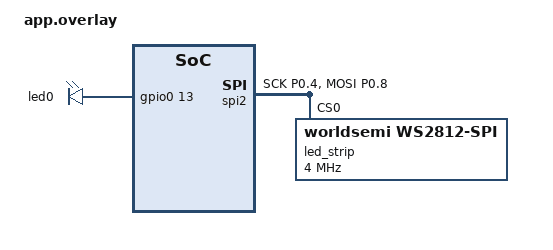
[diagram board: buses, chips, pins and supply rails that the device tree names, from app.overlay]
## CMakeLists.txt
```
cmake_minimum_required(VERSION 3.20)

# for global installs
find_package(Zephyr REQUIRED HINTS $ENV{ZEPHYR_BASE})

# populated the $PROJECT_NAME var and this is what the output files are named 
project(firepod)

# app is a predesignated target that zephyr uses
target_sources(app PRIVATE 
    src/main.c
    src/led_strip.c
    src/ble/ble.c
    src/ble/storage.c
)

target_include_directories(app PRIVATE include)
target_include_directories(app PRIVATE src)

#[[
Example from my capstone project:
cmake_minimum_required(VERSION 3.22)

find_package(Zephyr REQUIRED HINTS $ENV{ZEPHYR_BASE})
project(firepod)

# Include dirs so the Bosch API header is visible
target_include_directories(app PRIVATE
    ${CMAKE_CURRENT_SOURCE_DIR}/src
    ${CMAKE_CURRENT_SOURCE_DIR}/src/bosch/BME68x_SensorAPI
)

# All source files, including the Bosch driver and your stubs
target_sources(app PRIVATE
    src/main.c
    src/sensor_thread.c
    src/lora_thread.c
    src/base_station_thread.c
    src/bme688_stubs.c
    src/bosch/BME68x_SensorAPI/bme68x.c
)
]]
```

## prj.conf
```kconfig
# add desired CONFIGs here
CONFIG_GPIO=y
CONFIG_SPI=y

#logging
CONFIG_PRINTK=y
CONFIG_CONSOLE=y
CONFIG_USE_SEGGER_RTT=y
CONFIG_RTT_CONSOLE=y
CONFIG_UART_CONSOLE=n
CONFIG_CLOCK_CONTROL_NRF_K32SRC_RC=y

#BLE
CONFIG_BT=y
CONFIG_BT_BROADCASTER=y
CONFIG_BT_PERIPHERAL=y
CONFIG_BT_DEVICE_NAME="Cicada Wearable"

#Internal Flash
CONFIG_FLASH=y
CONFIG_MPU_ALLOW_FLASH_WRITE=y
CONFIG_FLASH_MAP=y
CONFIG_FCB=y
CONFIG_FLASH_PAGE_LAYOUT=y

# LED Strip support
CONFIG_LED_STRIP=y
CONFIG_WS2812_STRIP_SPI=y
CONFIG_SPI=y
CONFIG_LED_STRIP_LOG_LEVEL_DBG=y
CONFIG_SOC_NRF52832_ALLOW_SPIM_DESPITE_PAN_58=y 
```

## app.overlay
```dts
/*
* Hardware Overlay
* WS2812B LED strip:
*   MOSI: GPIO5  (SPI2)
*nRF52832:
*   UART
*/
#include <zephyr/dt-bindings/led/led.h>

/ {
    leds {
        compatiable = "gpio-leds";
        led0: led_0 {
            gpios = <&gpio0 13 GPIO_ACTIVE_HIGH>;
        };
    };
    aliases{
        led0 = &led0;
    };
};

&pinctrl {
     /* SPI2 — WS2812B LED strip data line */
    spim2_default: spim2_default {
        group1 {
            psels = <NRF_PSEL(SPIM_SCK, 0, 4)>,
                    <NRF_PSEL(SPIM_MOSI, 0 ,8)>;
        };
    };

    /*SPI1 - Internal Flash */
};

/*------------------ For Internal Flash  --------------------- */
&flash0 {
    partitions {
        compatible = "fixed-partitions";
        #address-cells = <1>;
        #size-cells = <1>;

        partition@0 {
            label = "storage";
            reg = <0x00050000 0x00028000>; /* 256kB */
            read-only;
        };
    };
};

/*------------- For LED Strip -------------------- */
&spi2 {
    compatible = "nordic,nrf-spim";
    status = "okay";
    pinctrl-0 = <&spim2_default>;
    /delete-property/ pinctrl-1;
    pinctrl-names = "default";

    led_strip: ws2812@0 {
        compatible = "worldsemi,ws2812-spi";
        reg = <0>;
        spi-max-frequency = <4000000>;
        chain-length = <4>;
        color-mapping = <2  /*GREEN*/
                        1   /*RED */
                        3>;   /*BLUE */
        spi-one-frame = <0x70>;
        spi-zero-frame = <0x40>;
        bits-per-symbol = <8>;
        reset-delay = <280>;
    };
};
```

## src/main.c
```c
// #include <stdio.h>
#include <zephyr/kernel.h>
// zephyr/device.h is included eventually through kernel.h
#include <zephyr/drivers/gpio.h>
#include "led_strip.h"
#include "ble/ble.h"
#include "ble/storage.h"

// This is accessing the DeviceTree node through its label (can see the entire devicetree in generated zephyr.dts file in the build directory)
#define LED2 DT_ALIAS(led0)

// 'gpios' refers to the property name within the led0 node, which is itself inside the leds parent node in the devicetree
// you can see this^^ in code if you search for the 'zephyr/boards/nordic/nrf54l15dk/nrf54l15dk_common.dtsi' file
static const struct gpio_dt_spec led = GPIO_DT_SPEC_GET(LED2, gpios);

int main(void)
{
    printk("booting  \n");

    //intialize flash
    int ret = storage_init();
    if (ret < 0){
        printk("Flash init failed: %d", ret);
    }

    printk("flash init successful \n");

    storage_read();
    storage_clear();

    //write fake data into flash
    printk("start logging \n");
    for (int i = 0; i < 10; i++){
        storage_log_data();
        k_sleep(K_SECONDS(1));
    }
    printk("wrote to flash \n");

    //intialize ble
    ret = ble_init();
    if (ret < 0){
        printk("BLE init failed: %d", ret);
    }

    printk("ble init successful \n");
    k_msleep(3000);

    //transfer data and then clear flash
    while (1) {
        uint8_t cmd;
        ble_wait_for_command(&cmd, K_FOREVER);
        printk("waiting for command \n");

        if (cmd == 0x01) {
            printk("send data \n");
            send_storage_data();
            printk("sent data \n");
        } else if (cmd == 0x02) {
            printk("clear \n");
            storage_clear();
        }
    }

    storage_read();
    printk("cleared flash \n");

    return 0;
}
```

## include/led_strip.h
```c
#ifndef LED_STRIP_H_
#define LED_STRIP_H_

#include <zephyr/drivers/led_strip.h>

/**
 * @brief Initialize the LED strip
 *
 * @return 0 on success, negative errno on failure
 */
int led_strip_init(void);

/**
 * @brief Set all LEDs to a single color
 *
 * @param r Red component (0-255)
 * @param g Green component (0-255)
 * @param b Blue component (0-255)
 * @return 0 on success, negative errno on failure
 */
int led_strip_set_all(uint8_t r, uint8_t g, uint8_t b);

/**
 * @brief Set individual LED colors
 *
 * @param pixels Array of RGB values for each LED
 * @param num_pixels Number of pixels to set
 * @return 0 on success, negative errno on failure
 */
int led_strip_set_pixels(struct led_rgb *pixels, size_t num_pixels);

/**
 * @brief Clear all LEDs (turn them off)
 *
 * @return 0 on success, negative errno on failure
 */
int led_strip_clear(void);

/**
 * @brief Get the number of LEDs in the strip
 *
 * @return Number of LEDs
 */
size_t led_strip_get_length(void);

/**
 * @brief Create a rainbow effect across the LED strip
 *
 * @param brightness Brightness multiplier (0-255)
 * @return 0 on success, negative errno on failure
 */
int led_strip_rainbow(uint8_t brightness);

/**
 * @brief Create a chasing light effect
 *
 * @param r Red component (0-255)
 * @param g Green component (0-255)
 * @param b Blue component (0-255)
 * @param delay_ms Delay between updates in milliseconds
 * @return 0 on success, negative errno on failure
 */
int led_strip_chase(uint8_t r, uint8_t g, uint8_t b, uint32_t delay_ms);

/**
 * @brief Different levels of LED colors and count based after certain time
 *
 * @return 0 on success, negative errno on failure
 */
int led_strip_main(void);

int led_strip_charge(void);

/**
 * @brief Test LED strip with a simple pattern
 *
 * @return 0 on success, negative errno on failure
 */
int led_strip_test(void);

#endif /* LED_STRIP_H_ */
```

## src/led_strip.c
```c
#include <zephyr/kernel.h>
#include <zephyr/device.h>
#include <zephyr/drivers/led_strip.h>
#include <zephyr/logging/log.h>
#include "led_strip.h"

LOG_MODULE_REGISTER(led_strip, LOG_LEVEL_INF);

#define LED_STRIP_NODE DT_NODELABEL(led_strip)
#define NUM_LEDS 4
#define LEVEL_DELAY_MS 5000


static const struct device *led_strip_dev;

int led_strip_init(void)
{
    led_strip_dev = DEVICE_DT_GET(LED_STRIP_NODE);

    if (!device_is_ready(led_strip_dev)) {
        LOG_ERR("LED strip device not ready");
        return -ENODEV;
    }

    LOG_INF("LED strip device found: %s", led_strip_dev->name);
    LOG_INF("LED strip initialized with %zu LEDs", led_strip_get_length());

    // Test pattern to verify it's working
    LOG_INF("Testing LED strip...");
    led_strip_set_all(100, 100, 100); // White
    k_sleep(K_MSEC(500));
    led_strip_clear();
    LOG_INF("LED strip test complete");

    return 0;
}

int led_strip_set_all(uint8_t r, uint8_t g, uint8_t b)
{
    if (!led_strip_dev) {
        LOG_ERR("LED strip device not initialized");
        return -ENODEV;
    }

    size_t num_pixels = led_strip_get_length();
    struct led_rgb pixels[64]; // Fixed size array for safety

    if (num_pixels > 64) {
        LOG_WRN("LED strip has %zu LEDs, limiting to 64", num_pixels);
        num_pixels = 64; // Limit to prevent overflow
    }

    LOG_INF("Setting all %zu LEDs to RGB(%d, %d, %d)", num_pixels, r, g, b);

    for (size_t i = 0; i < num_pixels; i++) {
        pixels[i].r = r;
        pixels[i].g = g;
        pixels[i].b = b;
    }

    int ret = led_strip_update_rgb(led_strip_dev, pixels, num_pixels);
    if (ret < 0) {
        LOG_ERR("Failed to update LED strip: %d", ret);
    } else {
        LOG_INF("LED strip updated successfully");
    }

    return ret;
}

int led_strip_set_pixels(struct led_rgb *pixels, size_t num_pixels)
{
    if (!led_strip_dev) {
        return -ENODEV;
    }

    if (num_pixels > led_strip_get_length()) {
        return -EINVAL;
    }

    return led_strip_update_rgb(led_strip_dev, pixels, num_pixels);
}

int led_strip_clear(void)
{
    return led_strip_set_all(0, 0, 0);
}

size_t led_strip_get_length(void)
{
    if (!led_strip_dev) {
        return 0;
    }

    return led_strip_length(led_strip_dev);
}

int led_strip_rainbow(uint8_t brightness)
{
    if (!led_strip_dev) {
        return -ENODEV;
    }

    size_t num_pixels = led_strip_get_length();
    struct led_rgb pixels[64]; // Fixed size array for safety

    if (num_pixels > 64) {
        num_pixels = 64; // Limit to prevent overflow
    }

    // Predefined rainbow colors for simplicity
    const struct led_rgb rainbow_colors[] = {
        {255, 0, 0},     // Red
        {255, 127, 0},   // Orange
        {255, 255, 0},   // Yellow
        {0, 255, 0},     // Green
        {0, 0, 255},     // Blue
        {75, 0, 130},    // Indigo
        {148, 0, 211}    // Violet
    };
    const size_t num_colors = sizeof(rainbow_colors) / sizeof(rainbow_colors[0]);

    for (size_t i = 0; i < num_pixels; i++) {
        // Map pixel index to rainbow color
        size_t color_index = (i * num_colors) / num_pixels;
        if (color_index >= num_colors) {
            color_index = num_colors - 1;
        }

        pixels[i].r = (uint8_t)((rainbow_colors[color_index].r * brightness) / 255);
        pixels[i].g = (uint8_t)((rainbow_colors[color_index].g * brightness) / 255);
        pixels[i].b = (uint8_t)((rainbow_colors[color_index].b * brightness) / 255);
    }

    return led_strip_update_rgb(led_strip_dev, pixels, num_pixels);
}

int led_strip_chase(uint8_t r, uint8_t g, uint8_t b, uint32_t delay_ms)
{
    if (!led_strip_dev) {
        return -ENODEV;
    }

    size_t num_pixels = led_strip_get_length();
    struct led_rgb pixels[64]; // Fixed size array for safety

    if (num_pixels > 64) {
        num_pixels = 64; // Limit to prevent overflow
    }

    // Initialize all pixels to off
    memset(pixels, 0, sizeof(pixels));

    for (size_t i = 0; i < num_pixels; i++) {
        // Turn off the previous LED
        if (i > 0) {
            pixels[i - 1].r = 0;
            pixels[i - 1].g = 0;
            pixels[i - 1].b = 0;
        }

        // Turn on the current LED
        pixels[i].r = r;
        pixels[i].g = g;
        pixels[i].b = b;

        int ret = led_strip_update_rgb(led_strip_dev, pixels, num_pixels);
        if (ret < 0) {
            return ret;
        }

        k_sleep(K_MSEC(delay_ms));
    }

    // Turn off the last LED
    pixels[num_pixels - 1].r = 0;
    pixels[num_pixels - 1].g = 0;
    pixels[num_pixels - 1].b = 0;

    return led_strip_update_rgb(led_strip_dev, pixels, num_pixels);
}

int led_strip_power (void) {
    struct level{
        size_t count;
        uint8_t r, g, b;
    };

    static const struct level levels[] = {
        {1, 255, 0, 0 }, //1 red
        {2, 255, 180, 0 }, //2 yellow
        {3, 0, 255, 0 }, //3 green
        {4, 0, 255, 0 } //4 green
    };

    struct led_rgb pixels[NUM_LEDS];

    for (size_t i = 0; i < ARRAY_SIZE(levels); i++) {
        memset(pixels, 0, sizeof(pixels)); //function turns pixels off

        for (size_t led = 0; led < levels[i].count; led++){
            pixels[led].r = levels[i].r;
            pixels[led].g = levels[i].g;
            pixels[led].b = levels[i].b;
        }

        int ret = led_strip_set_pixels(pixels, NUM_LEDS);
        if(ret < 0){
            return ret;
        }
        k_sleep(K_MSEC(LEVEL_DELAY_MS));
    }
    return 0;
}

int led_strip_clean (void) {
    #define NUM_LEDS 4
    #define LEVEL_DELAY_MS 3000
    #define BLINK_MS    300

    struct level{
        size_t count;
        uint8_t r, g, b;
    };

    static const struct level levels[] = {
        {1, 0, 0, 255 }, //1 red
        {2, 0, 0, 255 }, //2 blue
        {3, 0, 0, 255 }, //3 green
        {4, 0, 0, 255 }, //4 blue
    };

    struct led_rgb pixels[NUM_LEDS];
    int ret;

    for (size_t i = 0; i < ARRAY_SIZE(levels); i++){
        memset(pixels, 0, sizeof(pixels)); //function turns pixels off

        //on mode
        for (uint32_t t = 0; t < LEVEL_DELAY_MS; t += 2 * BLINK_MS){
            for (size_t led = 0; led < levels[i].count; led++){
                pixels[led].r = levels[i].r;
                pixels[led].g = levels[i].g;
                pixels[led].b = levels[i].b;
            }
            ret = led_strip_set_pixels(pixels, NUM_LEDS);
            if (ret < 0) {
                return ret;
            }
            k_sleep(K_MSEC(BLINK_MS));

            //off mode
            memset(pixels, 0, sizeof(pixels));
            ret = led_strip_set_pixels(pixels, NUM_LEDS);
            if (ret < 0) {
                return ret;
            }
            k_sleep(K_MSEC(BLINK_MS));
        }
    }
}

int led_strip_test(void)
{
    LOG_INF("Running LED strip test...");

    // Test red
    LOG_INF("Testing red...");
    led_strip_set_all(255, 0, 0);
    k_sleep(K_MSEC(1000));

    // Test green
    LOG_INF("Testing green...");
    led_strip_set_all(0, 255, 0);
    k_sleep(K_MSEC(1000));

    // Test blue
    LOG_INF("Testing blue...");
    led_strip_set_all(0, 0, 255);
    k_sleep(K_MSEC(1000));

    // Test white
    LOG_INF("Testing white...");
    led_strip_set_all(255, 255, 255);
    k_sleep(K_MSEC(1000));

    // Test individual LEDs
    LOG_INF("Testing individual LEDs...");
    struct led_rgb pixels[8] = {0};
    for (int i = 0; i < 8; i++) {
        pixels[i].r = 255;  // Red
        led_strip_update_rgb(led_strip_dev, pixels, 8);
        k_sleep(K_MSEC(200));
        pixels[i].r = 0;
    }

    // Clear
    LOG_INF("Clearing LEDs...");
    led_strip_clear();

    LOG_INF("LED strip test complete");
    return 0;
}
```
